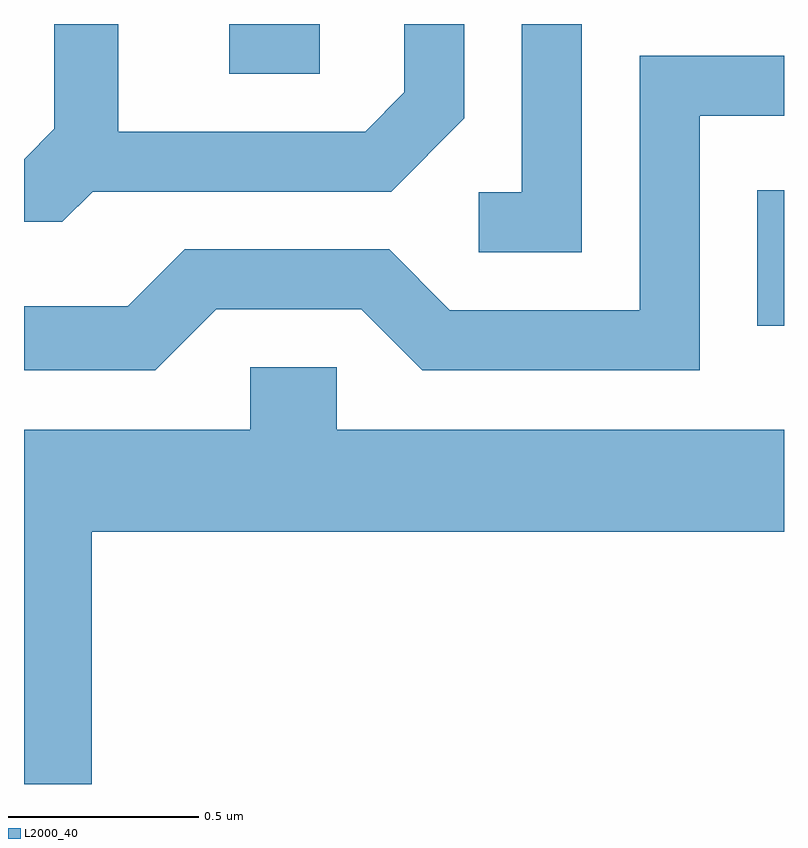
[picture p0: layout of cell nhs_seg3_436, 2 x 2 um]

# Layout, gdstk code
import gdstk
lib = gdstk.Library(unit=1e-6, precision=1e-09)
def R(c, l, rs):  # rectangles x0, y0, x1, y1
    for r in rs: c.add(gdstk.rectangle(r[:2], r[2:], *l))
def P(c, l, *ps):  # polygons
    for p in ps: c.add(gdstk.Polygon(p, *l))
L2000_40 = (2000, 40)

nhs_seg3_436 = lib.new_cell('nhs_seg3_436')
R(nhs_seg3_436, L2000_40, [(190.541,1142.098,190.611,1142.454), (189.151,1142.761,189.389,1142.892)])
P(nhs_seg3_436, L2000_40, [(190.079,1142.892),(189.921,1142.892),(189.921,1142.449),(189.808,1142.449),(189.808,1142.291),(190.079,1142.291)],
  [(188.792,1142.451),(189.577,1142.451),(189.769,1142.644),(189.769,1142.892),(189.611,1142.892),(189.611,1142.712),(189.509,1142.609),(188.859,1142.609),(188.859,1142.892),(188.691,1142.892),(188.691,1142.617),(188.611,1142.536),(188.611,1142.371),(188.712,1142.371)],
  [(189.117,1142.141),(189.499,1142.141),(189.659,1141.981),(190.389,1141.981),(190.389,1142.651),(190.611,1142.651),(190.611,1142.809),(190.231,1142.809),(190.231,1142.139),(189.732,1142.139),(189.572,1142.299),(189.034,1142.299),(188.884,1142.149),(188.611,1142.149),(188.611,1141.981),(188.957,1141.981)],
  [(188.789,1141.556),(190.611,1141.556),(190.611,1141.824),(189.434,1141.824),(189.434,1141.989),(189.206,1141.989),(189.206,1141.824),(188.611,1141.824),(188.611,1140.892),(188.789,1140.892)])

lib.write_gds('nhs_seg3_436.gds')
